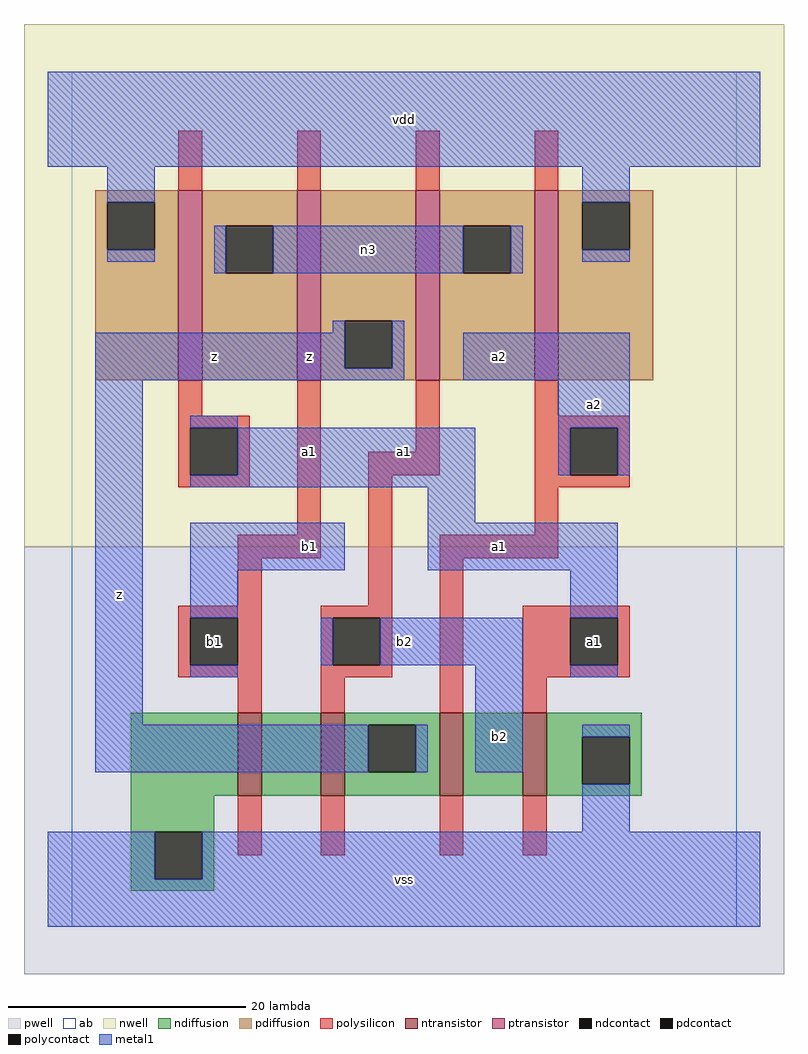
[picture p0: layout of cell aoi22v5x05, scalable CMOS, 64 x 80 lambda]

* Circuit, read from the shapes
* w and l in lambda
.subckt aoi22v5x05 a1 a2 b1 b2 n3 vdd vss z
M1 n1 b1 vss VSUBS nfet w=7 l=2
M2 z b2 n1 VSUBS nfet w=7 l=2
M3 n2 a2 z VSUBS nfet w=7 l=2
M4 vss a1 n2 VSUBS nfet w=7 l=2
M5 n3 a1 vdd n4 pfet w=16 l=2
M6 z b1 n3 n4 pfet w=16 l=2
M7 n3 b2 z n4 pfet w=16 l=2
M8 vdd a2 n3 n4 pfet w=16 l=2
.ends

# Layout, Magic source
magic
tech scmos
<< ab >>
rect 0 0 56 72
<< pwell >>
rect -4 -4 60 32
<< nwell >>
rect -4 32 60 76
<< polysilicon >>
rect 9 62 11 67
rect 19 62 21 67
rect 29 62 31 67
rect 39 62 41 67
rect 9 43 11 46
rect 9 42 15 43
rect 9 38 10 42
rect 14 38 15 42
rect 9 37 15 38
rect 19 33 21 46
rect 29 40 31 46
rect 14 31 21 33
rect 25 38 31 40
rect 39 43 41 46
rect 39 42 47 43
rect 39 38 42 42
rect 46 38 47 42
rect 14 27 16 31
rect 25 27 27 38
rect 39 37 47 38
rect 39 33 41 37
rect 9 26 16 27
rect 9 22 10 26
rect 14 22 16 26
rect 9 21 16 22
rect 14 18 16 21
rect 21 26 27 27
rect 21 22 22 26
rect 26 22 27 26
rect 21 21 27 22
rect 31 31 41 33
rect 21 18 23 21
rect 31 18 33 31
rect 38 26 47 27
rect 38 22 42 26
rect 46 22 47 26
rect 38 21 47 22
rect 38 18 40 21
rect 14 6 16 11
rect 21 6 23 11
rect 31 6 33 11
rect 38 6 40 11
<< ndiffusion >>
rect 5 11 14 18
rect 16 11 21 18
rect 23 17 31 18
rect 23 13 25 17
rect 29 13 31 17
rect 23 11 31 13
rect 33 11 38 18
rect 40 16 48 18
rect 40 12 43 16
rect 47 12 48 16
rect 40 11 48 12
rect 5 8 12 11
rect 5 4 7 8
rect 11 4 12 8
rect 5 3 12 4
<< pdiffusion >>
rect 2 61 9 62
rect 2 57 3 61
rect 7 57 9 61
rect 2 46 9 57
rect 11 59 19 62
rect 11 55 13 59
rect 17 55 19 59
rect 11 46 19 55
rect 21 51 29 62
rect 21 47 23 51
rect 27 47 29 51
rect 21 46 29 47
rect 31 59 39 62
rect 31 55 33 59
rect 37 55 39 59
rect 31 46 39 55
rect 41 61 49 62
rect 41 57 43 61
rect 47 57 49 61
rect 41 46 49 57
<< metal1 >>
rect -2 64 58 72
rect 3 61 7 64
rect 43 61 47 64
rect 3 56 7 57
rect 12 55 13 59
rect 17 55 33 59
rect 37 55 38 59
rect 43 56 47 57
rect 22 50 23 51
rect 2 47 23 50
rect 27 47 28 51
rect 2 46 28 47
rect 33 46 47 50
rect 2 17 6 46
rect 10 42 14 43
rect 41 42 47 46
rect 14 38 34 42
rect 41 38 42 42
rect 46 38 47 42
rect 10 37 34 38
rect 30 34 34 37
rect 10 30 23 34
rect 30 30 46 34
rect 10 26 14 30
rect 42 26 46 30
rect 21 22 22 26
rect 26 22 38 26
rect 10 21 14 22
rect 2 13 25 17
rect 29 13 30 17
rect 34 13 38 22
rect 42 21 46 22
rect 43 16 47 17
rect 43 8 47 12
rect -2 4 7 8
rect 11 4 58 8
rect -2 0 58 4
<< ntransistor >>
rect 14 11 16 18
rect 21 11 23 18
rect 31 11 33 18
rect 38 11 40 18
<< ptransistor >>
rect 9 46 11 62
rect 19 46 21 62
rect 29 46 31 62
rect 39 46 41 62
<< polycontact >>
rect 10 38 14 42
rect 42 38 46 42
rect 10 22 14 26
rect 22 22 26 26
rect 42 22 46 26
<< ndcontact >>
rect 25 13 29 17
rect 43 12 47 16
rect 7 4 11 8
<< pdcontact >>
rect 3 57 7 61
rect 13 55 17 59
rect 23 47 27 51
rect 33 55 37 59
rect 43 57 47 61
<< labels >>
rlabel metal1 4 28 4 28 6 z
rlabel polycontact 12 24 12 24 6 b1
rlabel metal1 20 32 20 32 6 b1
rlabel metal1 20 40 20 40 6 a1
rlabel metal1 12 48 12 48 6 z
rlabel metal1 20 48 20 48 6 z
rlabel metal1 28 4 28 4 6 vss
rlabel metal1 36 16 36 16 6 b2
rlabel metal1 28 24 28 24 6 b2
rlabel metal1 36 32 36 32 6 a1
rlabel metal1 28 40 28 40 6 a1
rlabel metal1 36 48 36 48 6 a2
rlabel metal1 25 57 25 57 6 n3
rlabel metal1 28 68 28 68 6 vdd
rlabel polycontact 44 24 44 24 6 a1
rlabel metal1 44 44 44 44 6 a2
<< end >>
